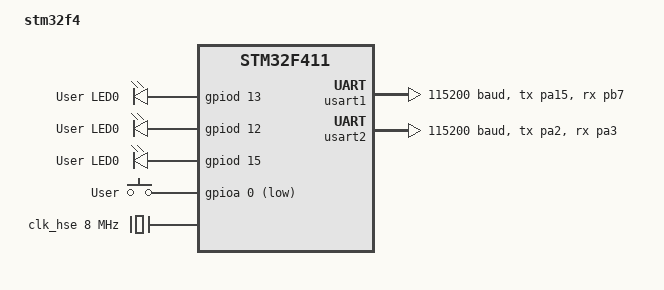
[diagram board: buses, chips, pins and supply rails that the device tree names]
/*
 * Copyright (c) 2023 Quasal
 *
 * SPDX-License-Identifier: Apache-2.0
 */

/dts-v1/;
#include <st/f4/stm32f411v(c-e)tx-pinctrl.dtsi>
#include <st/f4/stm32f411Xe.dtsi>
/ {
    model = "stm32f4";
    compatible = "st,stm32f411";

    chosen {
        zephyr,sram = &sram0;
        zephyr,flash = &flash0;
        zephyr,console = &usart2;
    };

    aliases {
        uart-tutorial = &usart1;
    };
    den_led {
        compatible = "gpio-leds";

        led_1: led1 {
            gpios = <&gpiod 13 GPIO_ACTIVE_HIGH>;
            label = "User LED0";
        };
        led_2: led2 {
            gpios = <&gpiod 12 GPIO_ACTIVE_HIGH>;
            label = "User LED0";
        };
        led_3: led3 {
            gpios = <&gpiod 15 GPIO_ACTIVE_HIGH>;
            label = "User LED0";
        };
    };
     buttons {
        compatible = "gpio-keys";

        user_button: button {
            label = "User";
            gpios = <&gpioa 0 GPIO_ACTIVE_LOW>;
        };
    };
};

&clk_hse {
    clock-frequency = <DT_FREQ_M(8)>;
    status = "okay";
};

&pll {
    div-m = <4>;
    mul-n = <100>;
    div-p = <2>;
    div-q = <4>;
    clocks = <&clk_hse>;
    status = "okay";
};

&rcc {
    clocks = <&pll>;
    clock-frequency = <DT_FREQ_M(100)>;                                                                                                                                                                                   
    ahb-prescaler = <1>;
    apb1-prescaler = <2>;
    apb2-prescaler = <1>;
};

&usart1 {
    pinctrl-0 = <&usart1_tx_pa15 &usart1_rx_pb7>;
    pinctrl-names = "default";
    current-speed = <115200>;
    status = "okay";
};

&usart2 {
    pinctrl-0 = <&usart2_tx_pa2 &usart2_rx_pa3>;
    pinctrl-names = "default";
    current-speed = <115200>;
    status = "okay";
};


&gpiod {
    status = "okay";
};
&gpioc {
    status = "okay";
};

&gpioa {
    status = "okay";
};
&gpiob {
    status = "okay";
};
